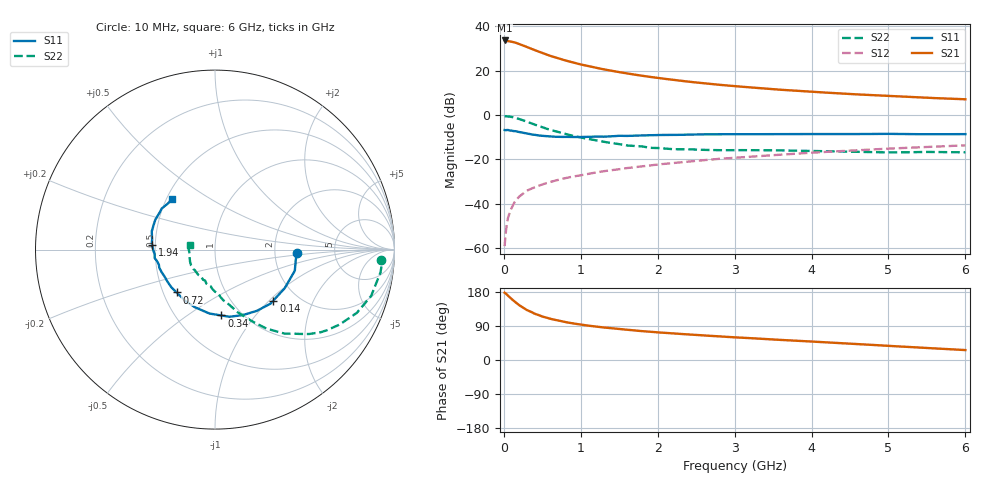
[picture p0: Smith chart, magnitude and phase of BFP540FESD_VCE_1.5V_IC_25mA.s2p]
! Infineon Technologies  Discrete & RF Semiconductors
! BFP540FESD
! VCE =  1.5 V,  IC =  25 mA
! Common Emitter S-Parameters:  Nov 2015
# GHz  S  MA  R  50
!  f  S11  S21  S12  S22
! GHz  MAG  ANG  MAG  ANG  MAG  ANG  MAG  ANG
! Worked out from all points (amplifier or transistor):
!   210 points, 10 MHz to 6 GHz, reference 50 ohm
!   highest |S21| = 33.6 dB at 10 MHz (marker M1)
!   |S21| within 3 dB of that: start of sweep to 304.4 MHz
!   unconditionally stable (mu >= 1): 1.56 GHz to end of sweep
!   at 185 MHz: K = 0.34, MSG = 34.8 dB, |S12| = -37.4 dB
!   at 1.52 GHz: K = 0.99, MSG = 21.8 dB, |S12| = -24.4 dB
!   at 6 GHz: K = 1.16, MAG = 7.9 dB, |S12| = -13.7 dB
!   S11 on the Smith chart (normalised r, x): 10 MHz: 2.68, -0.13; 140 MHz: 1.52, -1.06; 340 MHz: 0.81, -0.69; 720 MHz: 0.59, -0.31; 1.94 GHz: 0.48, +0.03; 6 GHz: 0.54, +0.35
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0.01  0.4571 -2.4  47.93 177.6  0.0011 109.5  0.9287 -3.6
0.02  0.4537 -7.8  46.63 176.2  0.0017 92.9  0.9366 -2.6
0.05  0.46 -14.8  46.54 170.6  0.0045 86.9  0.9307 -7.9
0.1  0.4439 -29.0  44.93 161.1  0.0079 79.9  0.9076 -16.5
0.14  0.4317 -41.1  43.22 154.3  0.0108 76.4  0.8723 -22.5
0.2  0.4135 -55.5  39.87 144.6  0.0144 72.0  0.8104 -31.0
0.24  0.3989 -64.5  37.48 139.3  0.0163 71.6  0.7685 -35.8
0.3  0.3828 -77.9  34.17 131.8  0.0196 68.4  0.7042 -41.9
0.34  0.3688 -84.4  32.03 128.3  0.0211 67.1  0.6643 -45.0
0.4  0.3575 -95.0  29.07 122.2  0.0234 65.5  0.6086 -50.3
0.5  0.3399 -109.4  24.99 114.7  0.0272 65.0  0.5269 -56.8
0.6  0.3296 -120.8  21.64 108.9  0.0307 64.1  0.4634 -61.5
0.72  0.3207 -131.9  18.66 103.3  0.0349 63.2  0.4067 -66.4
0.9  0.3193 -145.7  15.22 96.4  0.0409 63.9  0.3385 -73.1
1.02  0.3189 -152.6  13.54 92.9  0.0443 63.3  0.3058 -77.0
1.4  0.3299 -168.9  9.93 83.6  0.057 61.9  0.2335 -90.3
1.94  0.3511 176.0  7.076 73.9  0.0746 60.2  0.1811 -109.1
2.02  0.3541 173.8  6.776 72.6  0.0769 59.9  0.1793 -112.1
3.1  0.3686 158.0  4.327 58.8  0.1113 54.2  0.1611 -139.3
4.1  0.3712 149.7  3.259 47.6  0.1442 48.2  0.1532 -155.6
5.1  0.3731 141.1  2.639 36.2  0.1773 40.3  0.1435 -172.0
6  0.3701 130.0  2.259 26.2  0.2068 32.7  0.1443 169.6
